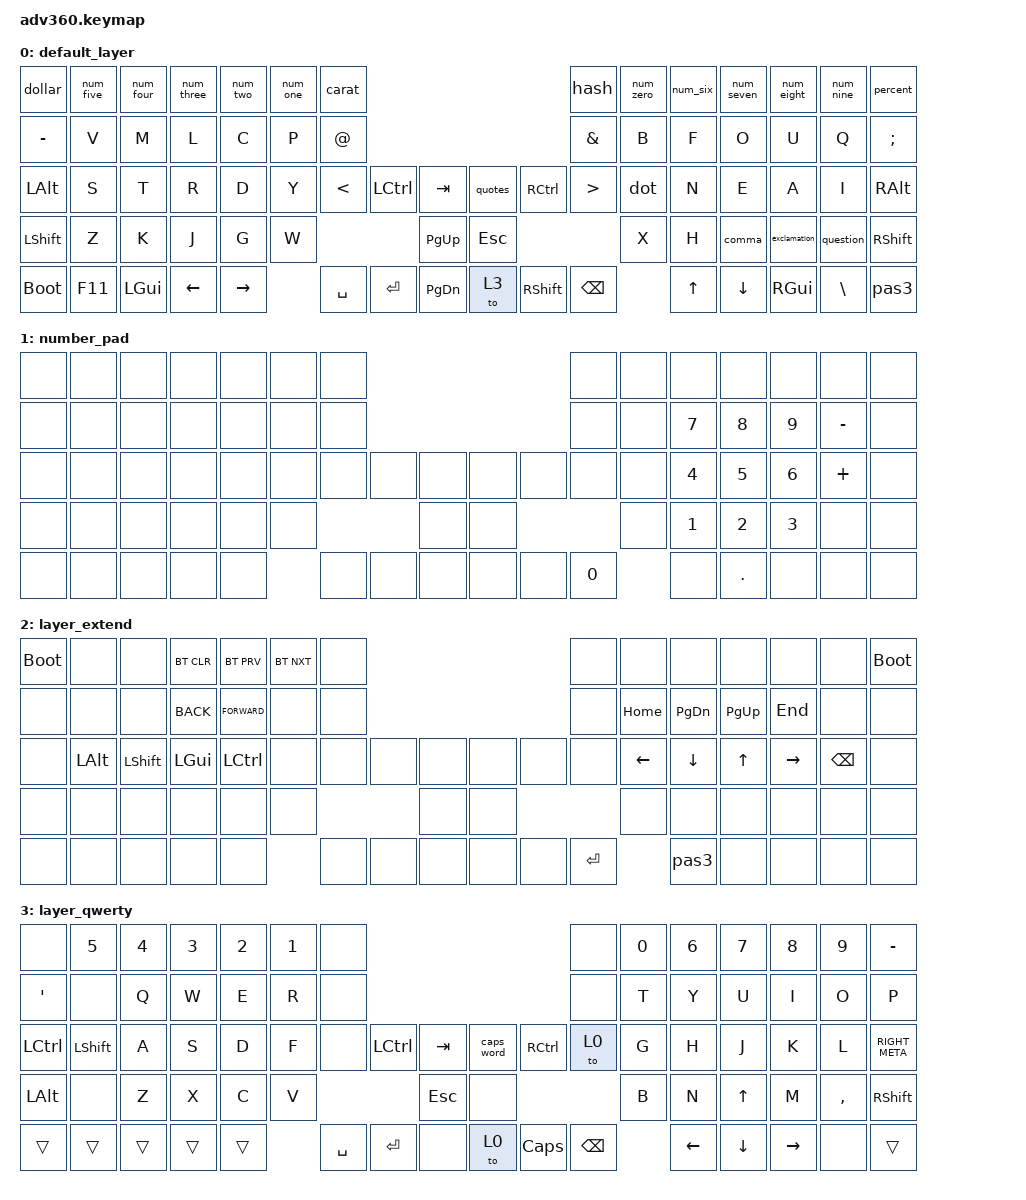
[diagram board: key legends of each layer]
/*
 * Copyright (c) 2020 The ZMK Contributors
 *
 * SPDX-License-Identifier: MIT
 */
/* THIS FILE WAS GENERATED!
 *
 * This file was generated automatically. You may or may not want to
 * edit it directly.
 */

#include <dt-bindings/zmk/mouse.h>
#include <behaviors.dtsi>
#include <dt-bindings/zmk/bt.h>
#include <dt-bindings/zmk/keys.h>

&sk { quick-release; };

/ {
    behaviors {
        #include "macros.dtsi"
    #include "version.dtsi"

        hm: homerow_mods {
            compatible = "zmk,behavior-hold-tap";
            label = "HOMEROW_MODS";
            #binding-cells = <2>;
            tapping-term-ms = <200>;
            quick_tap_ms = <175>;
            flavor = "tap-preferred";
            bindings = <&kp>, <&kp>;
        };

        Hml: Hml {
            compatible = "zmk,behavior-hold-tap";
            label = "HML";
            bindings = <&kp>, <&kp>;

            #binding-cells = <2>;
            flavor = "balanced";
            tapping-term-ms = <280>;
            quick-tap-ms = <175>;
            require-prior-idle-ms = <200>;
            hold-trigger-key-positions = <7 8 9 10 11 12 13 21 22 23 24 25 26 27 38 39 40 41 42 43 44 45 54 55 56 57 58 59 69 70 71 72 73 74 75 37 38 53 68 69>;
            hold-trigger-on-release;
        };

        Hmr: Hmr {
            compatible = "zmk,behavior-hold-tap";
            label = "HMR";
            bindings = <&kp>, <&kp>;

            #binding-cells = <2>;
            tapping-term-ms = <280>;
            quick-tap-ms = <175>;
            require-prior-idle-ms = <200>;
            flavor = "balanced";
            hold-trigger-key-positions = <0 1 2 3 4 5 6 14 15 16 17 18 19 20 28 29 30 31 32 33 34 35 36 46 47 48 49 50 51 52 60 61 62 63 64 65 66 67>;
            hold-trigger-on-release;
        };

        Bspc: Bspc {
            compatible = "zmk,behavior-hold-tap";
            label = "BSPC";
            bindings = <&mo>, <&kp>;

            #binding-cells = <2>;
            tapping-term-ms = <150>;
            quick-tap-ms = <175>;
            flavor = "balanced";
        };

        Spc: Spc {
            compatible = "zmk,behavior-hold-tap";
            label = "SPC";
            bindings = <&mo>, <&kp>;

            #binding-cells = <2>;
            tapping-term-ms = <150>;
            quick-tap-ms = <125>;
            flavor = "balanced";
            require-prior-idle-ms = <200>;
        };

        Caps: Caps {
            compatible = "zmk,behavior-mod-morph";
            label = "CAPS";
            bindings = <&sk LSHFT>, <&caps_word>;

            #binding-cells = <0>;
            mods = <(MOD_LCTL|MOD_RCTL|MOD_LSFT|MOD_RSFT)>;
        };

        num_one: num_one {
            compatible = "zmk,behavior-mod-morph";
            label = "NUM_ONE";
            bindings = <&kp NUMBER_1>, <&kp EQUAL>;

            #binding-cells = <0>;
            mods = <(MOD_LSFT|MOD_RSFT)>;
        };

        num_two: num_two {
            compatible = "zmk,behavior-mod-morph";
            label = "NUM_TWO";
            bindings = <&kp NUMBER_2>, <&kp LEFT_PARENTHESIS>;

            #binding-cells = <0>;
            mods = <(MOD_LSFT|MOD_RSFT)>;
        };

        num_three: num_three {
            compatible = "zmk,behavior-mod-morph";
            label = "NUM_THREE";
            bindings = <&kp NUMBER_3>, <&kp LEFT_BRACE>;

            #binding-cells = <0>;
            mods = <(MOD_LSFT|MOD_RSFT)>;
        };

        num_five: num_five {
            compatible = "zmk,behavior-mod-morph";
            label = "NUM_FIVE";
            bindings = <&kp N5>, <&kp PLUS>;

            #binding-cells = <0>;
            mods = <(MOD_LSFT|MOD_RSFT)>;
        };

        num_four: num_four {
            compatible = "zmk,behavior-mod-morph";
            label = "NUM_FOUR";
            bindings = <&kp NUMBER_4>, <&kp LEFT_BRACKET>;

            #binding-cells = <0>;
            mods = <(MOD_LSFT|MOD_RSFT)>;
        };

        num_zero: num_zero {
            compatible = "zmk,behavior-mod-morph";
            label = "NUM_ZERO";
            bindings = <&kp N0>, <&kp ASTERISK>;

            #binding-cells = <0>;
            mods = <(MOD_LSFT|MOD_RSFT)>;
        };

        num_six: num_six {
            compatible = "zmk,behavior-mod-morph";
            label = "NUM_SIX";
            bindings = <&kp NUMBER_6>, <&kp RIGHT_PARENTHESIS>;

            #binding-cells = <0>;
            mods = <(MOD_LSFT|MOD_RSFT)>;
        };

        num_seven: num_seven {
            compatible = "zmk,behavior-mod-morph";
            label = "NUM_SEVEN";
            bindings = <&kp N7>, <&kp RIGHT_BRACE>;

            #binding-cells = <0>;
            mods = <(MOD_LSFT|MOD_RSFT)>;
        };

        num_eight: num_eight {
            compatible = "zmk,behavior-mod-morph";
            label = "NUM_EIGHT";
            bindings = <&kp N8>, <&kp RIGHT_BRACKET>;

            #binding-cells = <0>;
            mods = <(MOD_LSFT|MOD_RSFT)>;
        };

        num_nine: num_nine {
            compatible = "zmk,behavior-mod-morph";
            label = "NUM_NINE";
            bindings = <&kp N9>, <&kp SLASH>;

            #binding-cells = <0>;
            mods = <(MOD_LSFT|MOD_RSFT)>;
        };

        carat: carat {
            compatible = "zmk,behavior-mod-morph";
            label = "CARAT";
            bindings = <&kp CARET>, <&kp AT>;

            #binding-cells = <0>;
            mods = <(MOD_LSFT|MOD_RSFT)>;
        };

        comma: comma {
            compatible = "zmk,behavior-mod-morph";
            label = "COMMA";
            bindings = <&kp COMMA>, <&kp LESS_THAN>;

            #binding-cells = <0>;
            mods = <(MOD_LSFT|MOD_RSFT)>;
        };

        exclamation: exclamation {
            compatible = "zmk,behavior-mod-morph";
            label = "EXCLAMATION";
            bindings = <&kp EXCL>, <&kp GREATER_THAN>;

            #binding-cells = <0>;
            mods = <(MOD_LSFT)>;
        };

        dollar: dollar {
            compatible = "zmk,behavior-mod-morph";
            label = "DOLLAR";
            bindings = <&kp DOLLAR>, <&kp TILDE>;

            #binding-cells = <0>;
            mods = <(MOD_LSFT|MOD_RSFT)>;
        };

        percent: percent {
            compatible = "zmk,behavior-mod-morph";
            label = "PERCENT";
            bindings = <&kp PERCENT>, <&kp AMPS>;

            #binding-cells = <0>;
            mods = <(MOD_LSFT|MOD_RSFT)>;
        };

        hash: hash {
            compatible = "zmk,behavior-mod-morph";
            label = "HASH";
            bindings = <&kp HASH>, <&kp GRAVE>;

            #binding-cells = <0>;
            mods = <(MOD_LSFT|MOD_RSFT)>;
        };

        underscore: underscore {
            compatible = "zmk,behavior-mod-morph";
            label = "UNDERSCORE";
            bindings = <&kp UNDER>, <&kp UNDERSCORE>;

            #binding-cells = <0>;
            mods = <(MOD_LSFT|MOD_RSFT)>;
        };

        dash: dash {
            compatible = "zmk,behavior-mod-morph";
            label = "DASH";
            bindings = <&kp MINUS>, <&kp MINUS>;

            #binding-cells = <0>;
            mods = <(MOD_LSFT|MOD_RSFT)>;
        };

        quotes: quotes {
            compatible = "zmk,behavior-mod-morph";
            label = "QUOTES";
            bindings = <&kp DOUBLE_QUOTES>, <&kp SINGLE_QUOTE>;

            #binding-cells = <0>;
            mods = <(MOD_LSFT|MOD_RSFT)>;
        };

        dot: dot {
            compatible = "zmk,behavior-mod-morph";
            label = "DOT";
            bindings = <&kp PERIOD>, <&kp PERIOD>;

            #binding-cells = <0>;
            mods = <(MOD_LSFT|MOD_RSFT)>;
        };

        colon: colon {
            compatible = "zmk,behavior-mod-morph";
            label = "COLON";
            bindings = <&kp COLON>, <&kp SEMI>;

            #binding-cells = <0>;
            mods = <(MOD_LSFT|MOD_RSFT)>;
        };

        question: question {
            compatible = "zmk,behavior-mod-morph";
            label = "QUESTION";
            bindings = <&kp QUESTION>, <&kp BACKSLASH>;

            #binding-cells = <0>;
            mods = <(MOD_LSFT|MOD_RSFT)>;
        };
    };

    macros {
        pas3: pas3 {
            compatible = "zmk,behavior-macro";
            #binding-cells = <0>;
            bindings = <&kp N1 &kp Q &kp A &kp Z &kp N2 &kp W &kp S &kp X &kp EXCL &kp LS(Q) &kp LS(A) &kp LS(Z) &kp AT &kp LS(W) &kp LS(S) &kp LS(X)>;
            label = "PAS3";
        };

        org: org {
            compatible = "zmk,behavior-macro";
            #binding-cells = <0>;
            bindings = <&kp POUND &kp PLUS>;
            label = "ORG";
        };

        Nextsen: Nextsen {
            compatible = "zmk,behavior-macro";
            #binding-cells = <0>;
            bindings = <&kp PERIOD &kp SPACE &sk LEFT_SHIFT>;
            label = "NEXTSEN";
        };

        nextcomma: nextcomma {
            compatible = "zmk,behavior-macro";
            #binding-cells = <0>;
            bindings = <&kp COMMA &kp SPACE>;
            label = "NEXTCOMMA";
        };

        shell_back: shell_back {
            compatible = "zmk,behavior-macro";
            #binding-cells = <0>;
            bindings = <&kp DOT &kp DOT &kp FSLH>;
            label = "SHELL_BACK";
        };
    };

    combos { compatible = "zmk,combos"; };

    keymap {
        compatible = "zmk,keymap";

        default_layer {
            bindings = <
&dollar         &num_five  &num_four     &num_three  &num_two   &num_one  &carat                                                                           &hash             &num_zero  &num_six      &num_seven  &num_eight     &num_nine      &percent
&kp MINUS       &kp V      &kp M         &kp L       &kp C      &kp P     &kp AT                                                                           &kp AMPERSAND     &kp B      &kp F         &kp O       &kp U          &kp Q          &kp SEMI
&kp LEFT_ALT    &kp S      &kp T         &kp R       &kp D      &kp Y     &kp LESS_THAN  &kp LEFT_CONTROL  &kp TAB            &quotes     &kp RCTRL        &kp GREATER_THAN  &dot       &kp N         &kp E       &kp A          &kp I          &kp RIGHT_ALT
&kp LEFT_SHIFT  &kp Z      &kp K         &kp J       &kp G      &kp W                                      &kp PG_UP          &kp ESCAPE                                     &kp X      &kp H         &comma      &exclamation   &question      &kp RIGHT_SHIFT
&bootloader     &kp F11    &kp LEFT_GUI  &kp LEFT    &kp RIGHT            &kp SPACE      &kp ENTER         &kp PAGE_DOWN      &to 3       &kp RIGHT_SHIFT  &kp BACKSPACE                &kp UP_ARROW  &kp DOWN    &kp RIGHT_GUI  &kp BACKSLASH  &pas3
            >;
        };

        number_pad {
            bindings = <
&none  &none  &none  &none  &none  &none  &none                                  &none   &none  &none   &none       &none   &none      &none
&none  &none  &none  &none  &none  &none  &none                                  &none   &none  &kp N7  &kp N8      &kp N9  &kp MINUS  &none
&none  &none  &none  &none  &none  &none  &none  &none  &none      &none  &none  &none   &none  &kp N4  &kp N5      &kp N6  &kp PLUS   &none
&none  &none  &none  &none  &none  &none                &none      &none                 &none  &kp N1  &kp N2      &kp N3  &none      &none
&none  &none  &none  &none  &none         &none  &none  &none      &none  &none  &kp N0         &none   &kp PERIOD  &none   &none      &none
            >;
        };

        layer_extend {
            bindings = <
&bootloader  &none         &none      &bt BT_CLR    &bt BT_PRV     &bt BT_NXT  &none                                  &none      &none           &none      &none         &none      &none          &bootloader
&none        &none         &none      &kp K_BACK    &kp K_FORWARD  &none       &none                                  &none      &kp HOME        &kp PG_DN  &kp PG_UP     &kp END    &none          &none
&none        &kp LEFT_ALT  &kp LSHFT  &kp LEFT_GUI  &kp LCTRL      &none       &none  &none  &none      &none  &none  &none      &kp LEFT_ARROW  &kp DOWN   &kp UP_ARROW  &kp RIGHT  &kp BACKSPACE  &none
&none        &none         &none      &none         &none          &none                     &none      &none                    &none           &none      &none         &none      &none          &none
&none        &none         &none      &none         &none                      &none  &none  &none      &none  &none  &kp ENTER                  &pas3      &none         &none      &none          &none
            >;
        };

        layer_qwerty {
            bindings = <
&none             &kp N5          &kp N4  &kp N3  &kp N2  &kp N1  &none                                                                       &none          &kp N0  &kp N6    &kp N7        &kp N8     &kp N9     &kp MINUS
&kp SINGLE_QUOTE  &none           &kp Q   &kp W   &kp E   &kp R   &none                                                                       &none          &kp T   &kp Y     &kp U         &kp I      &kp O      &kp P
&kp LEFT_CONTROL  &kp LEFT_SHIFT  &kp A   &kp S   &kp D   &kp F   &none      &kp LEFT_CONTROL  &kp TAB         &caps_word  &kp RIGHT_CONTROL  &to 0          &kp G   &kp H     &kp J         &kp K      &kp L      &kp RIGHT_META
&kp LEFT_ALT      &none           &kp Z   &kp X   &kp C   &kp V                                &kp ESCAPE      &none                                         &kp B   &kp N     &kp UP_ARROW  &kp M      &kp COMMA  &kp RSHFT
&trans            &trans          &trans  &trans  &trans          &kp SPACE  &kp ENTER         &none           &to 0       &Caps              &kp BACKSPACE          &kp LEFT  &kp DOWN      &kp RIGHT  &none      &trans
            >;
        };
    };
};
